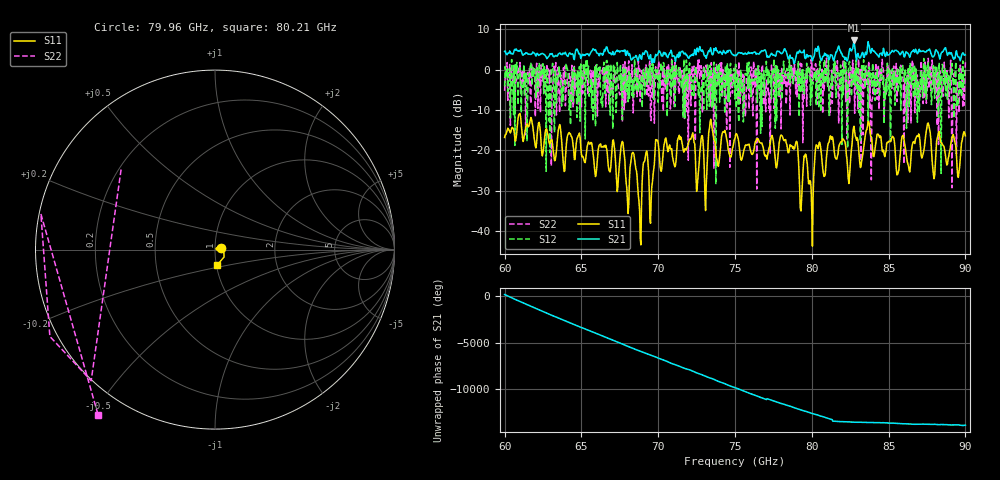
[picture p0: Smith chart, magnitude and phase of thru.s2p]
!Created with skrf (http://scikit-rf.org).
# GHz S RI R 50.0
!freq ReS11 ImS11 ReS21 ImS21 ReS12 ImS12 ReS22 ImS22
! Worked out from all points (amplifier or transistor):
!   721 points, 60 GHz to 90 GHz, reference 50 ohm
!   highest |S21| = 7.2 dB at 82.75 GHz (marker M1)
!   |S21| within 3 dB of that: 86.92 GHz to 87.74 GHz (821.3 MHz wide, 0.94 % of centre)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
!   unconditionally stable (mu >= 1): 60.35422 GHz to 60.39705 GHz; 60.64337 GHz to 60.69113 GHz; 82.28557 GHz to 82.35917 GHz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
!   at 65 GHz: K = 0.95, MSG = 3.5 dB, |S12| = -3.9 dB
!   at 75 GHz: K = 0.43, MSG = 5.4 dB, |S12| = -7.3 dB
!   at 90 GHz: K = 0.61, MSG = 2.1 dB, |S12| = -0.6 dB
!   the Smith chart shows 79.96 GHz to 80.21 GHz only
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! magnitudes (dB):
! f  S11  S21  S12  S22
! 60 GHz  -16.8  4.5  -4.1  -5.3
! 65 GHz  -20.9  3.1  -3.9  -9.2
! 67.67 GHz  -17.8  4.6  -12.4  -12.9
! 68 GHz  -32.4  4.6  -2.5  -1.2
! 68.38 GHz  -20.5  3.0  -6.9  -10.7
! 68.79 GHz  -35.2  3.7  -3.0  0.1
! 69.12 GHz  -22.6  4.2  -6.5  -1.1
! 69.54 GHz  -32.3  2.5  -1.2  -12.6
! 70 GHz  -18.2  4.0  -8.1  0.5
! 73.08 GHz  -34.9  3.4  -2.1  0.3
! 74.17 GHz  -15.8  3.8  -4.0  -6.8
! 74.54 GHz  -19.3  4.3  -7.8  -5.3
! 75 GHz  -17.0  3.6  -7.3  -0.3
! 78.96 GHz  -18.1  2.9  -0.4  -6.0
! 80 GHz  -35.5  2.8  -6.8  1.5
! 80.38 GHz  -19.0  4.9  -0.2  0.2
! 82.42 GHz  -28.2  4.1  1.6  -0.4
! 82.75 GHz  -14.0  7.2  -2.6  0.2
! 83.88 GHz  -16.7  4.6  -2.6  -27.2
! 85 GHz  -17.8  3.7  -0.7  -2.8
! 86.12 GHz  -20.3  4.4  -3.5  -6.7
! 90 GHz  -16.4  3.6  -0.6  1.8
